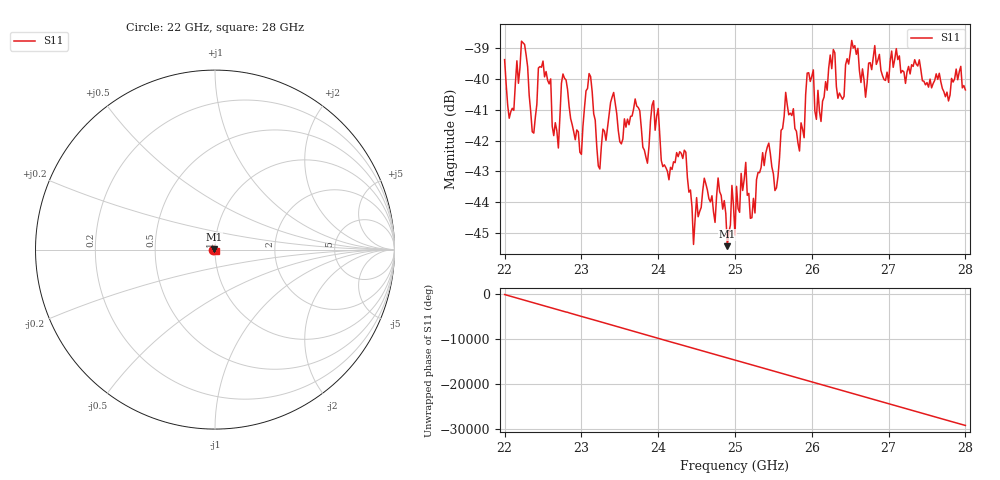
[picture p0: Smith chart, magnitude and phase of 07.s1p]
#  HZ  S  RI  R  50.00
! Rohde & Schwarz ZVA40 4Ports - Version 3.90 - 1145.1110k42 SN: 100403
! Date: 2023-10-04 08:27:44
! Measurement: S12
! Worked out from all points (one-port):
!   301 points, 22 GHz to 28 GHz, reference 50 ohm
!   lowest |S11| = -45.4 dB at 24.9 GHz (marker M1), VSWR 1.01, Z = 49.5 + j0.0731 ohm
!   |S11| at or under -10 dB: start of sweep to end of sweep
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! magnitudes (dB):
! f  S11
! 22 GHz  -39.4
! 22.06 GHz  -41.3
! 22.26 GHz  -38.9
! 22.38 GHz  -41.8
! 22.5 GHz  -39.4
! 22.7 GHz  -42.2
! 22.76 GHz  -39.8
! 23 GHz  -42.4
! 23.1 GHz  -39.8
! 23.22 GHz  -42.8
! 23.42 GHz  -40.4
! 23.5 GHz  -42.0
! 23.7 GHz  -40.6
! 23.86 GHz  -42.7
! 23.94 GHz  -40.7
! 24.26 GHz  -42.5
! 24.46 GHz  -45.4
! 24.78 GHz  -43.2
! 24.9 GHz  -45.4
! 24.96 GHz  -43.5
! 25 GHz  -45.1
! 25.14 GHz  -42.7
! 25.22 GHz  -44.5
! 25.76 GHz  -41.0
! 25.84 GHz  -42.3
! 26.5 GHz  -39.2
! 27.26 GHz  -39.6
! 28 GHz  -40.4
